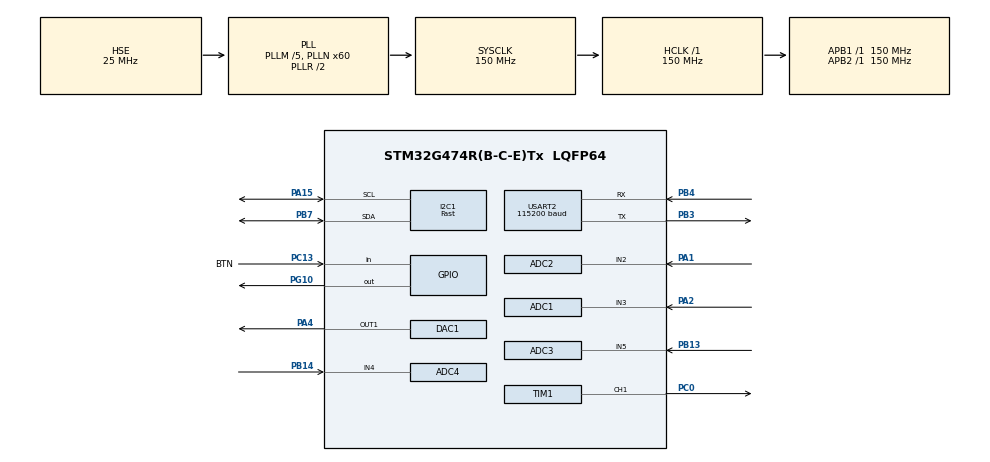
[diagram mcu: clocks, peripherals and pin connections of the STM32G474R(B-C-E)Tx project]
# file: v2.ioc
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ADC1.Channel-0\#ChannelRegularConversion=ADC_CHANNEL_3
ADC1.ClockPrescaler=ADC_CLOCK_ASYNC_DIV1
ADC1.ContinuousConvMode=DISABLE
ADC1.ExternalTrigConv=ADC_EXTERNALTRIG_T6_TRGO
ADC1.NbrOfConversion=1
ADC1.NbrOfConversionFlag=1
ADC1.OffsetNumber-0\#ChannelRegularConversion=ADC_OFFSET_NONE
ADC1.Rank-0\#ChannelRegularConversion=1
ADC1.SamplingTime-0\#ChannelRegularConversion=ADC_SAMPLETIME_2CYCLES_5
ADC1.master=1
ADC2.Channel-0\#ChannelRegularConversion=ADC_CHANNEL_2
ADC2.ClockPrescaler=ADC_CLOCK_ASYNC_DIV1
ADC2.NbrOfConversionFlag=1
ADC2.OffsetNumber-0\#ChannelRegularConversion=ADC_OFFSET_NONE
ADC2.Rank-0\#ChannelRegularConversion=1
ADC2.SamplingTime-0\#ChannelRegularConversion=ADC_SAMPLETIME_2CYCLES_5
ADC3.Channel-0\#ChannelRegularConversion=ADC_CHANNEL_5
ADC3.ClockPrescaler=ADC_CLOCK_ASYNC_DIV1
ADC3.NbrOfConversionFlag=1
ADC3.OffsetNumber-0\#ChannelRegularConversion=ADC_OFFSET_NONE
ADC3.Rank-0\#ChannelRegularConversion=1
ADC3.SamplingTime-0\#ChannelRegularConversion=ADC_SAMPLETIME_2CYCLES_5
ADC3.master=1
ADC4.Channel-1\#ChannelRegularConversion=ADC_CHANNEL_4
ADC4.ClockPrescaler=ADC_CLOCK_ASYNC_DIV1
ADC4.NbrOfConversionFlag=1
ADC4.OffsetNumber-1\#ChannelRegularConversion=ADC_OFFSET_NONE
ADC4.Rank-1\#ChannelRegularConversion=1
ADC4.SamplingTime-1\#ChannelRegularConversion=ADC_SAMPLETIME_2CYCLES_5
CRC.CRCLength=CRC_POLYLENGTH_16B
CRC.DefaultInitValueUse=DEFAULT_INIT_VALUE_DISABLE
CRC.DefaultPolynomialUse=DEFAULT_POLYNOMIAL_DISABLE
CRC.GeneratingPolynomial=X12+X5+X0
DAC1.DAC_Trigger_OUT1-DAC_OUT1=DAC_TRIGGER_T6_TRGO
Dma.ADC1.3.Direction=DMA_PERIPH_TO_MEMORY
Dma.ADC1.3.EventEnable=DISABLE
Dma.ADC1.3.Instance=DMA1_Channel4
Dma.ADC1.3.MemDataAlignment=DMA_MDATAALIGN_HALFWORD
Dma.ADC1.3.MemInc=DMA_MINC_ENABLE
Dma.ADC1.3.Mode=DMA_NORMAL
Dma.ADC1.3.PeriphDataAlignment=DMA_PDATAALIGN_HALFWORD
Dma.ADC1.3.PeriphInc=DMA_PINC_DISABLE
Dma.ADC1.3.Polarity=HAL_DMAMUX_REQ_GEN_RISING
Dma.ADC1.3.Priority=DMA_PRIORITY_LOW
Dma.ADC1.3.RequestNumber=1
Dma.ADC1.3.SignalID=NONE
Dma.ADC1.3.SyncEnable=DISABLE
Dma.ADC1.3.SyncPolarity=HAL_DMAMUX_SYNC_NO_EVENT
Dma.ADC1.3.SyncRequestNumber=1
Dma.ADC1.3.SyncSignalID=NONE
Dma.DAC1_CH1.1.Direction=DMA_MEMORY_TO_PERIPH
Dma.DAC1_CH1.1.EventEnable=DISABLE
Dma.DAC1_CH1.1.Instance=DMA1_Channel3
Dma.DAC1_CH1.1.MemDataAlignment=DMA_MDATAALIGN_HALFWORD
Dma.DAC1_CH1.1.MemInc=DMA_MINC_ENABLE
Dma.DAC1_CH1.1.Mode=DMA_CIRCULAR
Dma.DAC1_CH1.1.PeriphDataAlignment=DMA_PDATAALIGN_WORD
Dma.DAC1_CH1.1.PeriphInc=DMA_PINC_DISABLE
Dma.DAC1_CH1.1.Polarity=HAL_DMAMUX_REQ_GEN_RISING
Dma.DAC1_CH1.1.Priority=DMA_PRIORITY_LOW
Dma.DAC1_CH1.1.RequestNumber=1
Dma.DAC1_CH1.1.SignalID=NONE
Dma.DAC1_CH1.1.SyncEnable=DISABLE
Dma.DAC1_CH1.1.SyncPolarity=HAL_DMAMUX_SYNC_NO_EVENT
Dma.DAC1_CH1.1.SyncRequestNumber=1
Dma.DAC1_CH1.1.SyncSignalID=NONE
Dma.Request0=USART2_RX
Dma.Request1=DAC1_CH1
Dma.Request2=USART2_TX
Dma.Request3=ADC1
Dma.USART2_RX.0.Direction=DMA_PERIPH_TO_MEMORY
Dma.USART2_RX.0.EventEnable=DISABLE
Dma.USART2_RX.0.Instance=DMA1_Channel1
Dma.USART2_RX.0.MemDataAlignment=DMA_MDATAALIGN_BYTE
Dma.USART2_RX.0.MemInc=DMA_MINC_ENABLE
Dma.USART2_RX.0.Mode=DMA_NORMAL
Dma.USART2_RX.0.PeriphDataAlignment=DMA_PDATAALIGN_BYTE
Dma.USART2_RX.0.PeriphInc=DMA_PINC_DISABLE
Dma.USART2_RX.0.Polarity=HAL_DMAMUX_REQ_GEN_RISING
Dma.USART2_RX.0.Priority=DMA_PRIORITY_LOW
Dma.USART2_RX.0.RequestNumber=1
Dma.USART2_RX.0.SignalID=NONE
Dma.USART2_RX.0.SyncEnable=DISABLE
Dma.USART2_RX.0.SyncPolarity=HAL_DMAMUX_SYNC_NO_EVENT
Dma.USART2_RX.0.SyncRequestNumber=1
Dma.USART2_RX.0.SyncSignalID=NONE
Dma.USART2_TX.2.Direction=DMA_MEMORY_TO_PERIPH
Dma.USART2_TX.2.EventEnable=DISABLE
Dma.USART2_TX.2.Instance=DMA1_Channel2
Dma.USART2_TX.2.MemDataAlignment=DMA_MDATAALIGN_BYTE
Dma.USART2_TX.2.MemInc=DMA_MINC_ENABLE
Dma.USART2_TX.2.Mode=DMA_NORMAL
Dma.USART2_TX.2.PeriphDataAlignment=DMA_PDATAALIGN_BYTE
Dma.USART2_TX.2.PeriphInc=DMA_PINC_DISABLE
Dma.USART2_TX.2.Polarity=HAL_DMAMUX_REQ_GEN_RISING
Dma.USART2_TX.2.Priority=DMA_PRIORITY_LOW
Dma.USART2_TX.2.RequestNumber=1
Dma.USART2_TX.2.SignalID=NONE
Dma.USART2_TX.2.SyncEnable=DISABLE
Dma.USART2_TX.2.SyncPolarity=HAL_DMAMUX_SYNC_NO_EVENT
Dma.USART2_TX.2.SyncRequestNumber=1
Dma.USART2_TX.2.SyncSignalID=NONE
I2C1.I2C_Speed_Mode=I2C_Fast
I2C1.Timing=0x00E063FF
Mcu.Family=STM32G4
Mcu.Name=STM32G474R(B-C-E)Tx
Mcu.Package=LQFP64
NVIC.DMA1_Channel1_IRQn=true\:1\:0\:true\:false\:true\:true\:true\:true
NVIC.DMA1_Channel2_IRQn=true\:1\:0\:true\:false\:true\:true\:true\:true
NVIC.DMA1_Channel3_IRQn=true\:1\:0\:true\:false\:true\:false\:true\:true
NVIC.DMA1_Channel4_IRQn=true\:1\:0\:true\:false\:true\:false\:true\:true
NVIC.PriorityGroup=NVIC_PRIORITYGROUP_4
NVIC.TIM6_DAC_IRQn=true\:0\:0\:false\:false\:true\:true\:true\:true
NVIC.USART2_IRQn=true\:0\:0\:true\:false\:true\:true\:true\:true
PA1.Mode=IN2-Single-Ended
PA1.Signal=ADC2_IN2
PA15.Mode=I2C
PA15.Signal=I2C1_SCL
PA2.Mode=IN3-Single-Ended
PA2.Signal=ADC1_IN3
PA4.Signal=COMP_DAC11_group
PB13.Mode=IN5-Single-Ended
PB13.Signal=ADC3_IN5
PB14.Mode=IN4-Single-Ended
PB14.Signal=ADC4_IN4
PB3.Mode=Asynchronous
PB3.Signal=USART2_TX
PB4.Mode=Asynchronous
PB4.Signal=USART2_RX
PB7.Mode=I2C
PB7.Signal=I2C1_SDA
PC0.Signal=S_TIM1_CH1
PC13.GPIO_Label=BTN
PC13.GPIO_PuPd=GPIO_PULLUP
PC13.Signal=GPIO_Input
PF0-OSC_IN.Mode=HSE-External-Oscillator
PF0-OSC_IN.Signal=RCC_OSC_IN
PF1-OSC_OUT.Mode=HSE-External-Oscillator
PF1-OSC_OUT.Signal=RCC_OSC_OUT
PG10-NRST.Signal=GPIO_Output
ProjectManager.HeapSize=0x200
ProjectManager.StackSize=0x400
ProjectManager.TargetToolchain=STM32CubeIDE
RCC.ADC12CLockSelection=RCC_ADC12CLKSOURCE_PLL
RCC.ADC12Freq_Value=60000000
RCC.ADC345CLockSelection=RCC_ADC345CLKSOURCE_PLL
RCC.ADC345Freq_Value=60000000
RCC.AHBFreq_Value=150000000
RCC.APB1Freq_Value=150000000
RCC.APB1TimFreq_Value=150000000
RCC.APB2Freq_Value=150000000
RCC.APB2TimFreq_Value=150000000
RCC.CortexFreq_Value=150000000
RCC.EXTERNAL_CLOCK_VALUE=12288000
RCC.HCLKFreq_Value=150000000
RCC.HSE_VALUE=25000000
RCC.HSI48_VALUE=48000000
RCC.HSI_VALUE=16000000
RCC.LSE_VALUE=32768
RCC.PLLM=RCC_PLLM_DIV5
RCC.PLLN=60
RCC.PLLP=RCC_PLLP_DIV5
RCC.PLLSourceVirtual=RCC_PLLSOURCE_HSE
RCC.SYSCLKFreq_VALUE=150000000
RCC.SYSCLKSource=RCC_SYSCLKSOURCE_PLLCLK
RCC.USART2CLockSelection=RCC_USART2CLKSOURCE_HSI
RCC.USBFreq_Value=150000000
RCC.VCOOutputFreq_Value=300000000
SH.COMP_DAC11_group.0=DAC1_OUT1,DAC_OUT1
SH.S_TIM1_CH1.0=TIM1_CH1,PWM Generation1 CH1
TIM1.Channel-PWM\ Generation1\ CH1=TIM_CHANNEL_1
TIM1.PeriodNoDither=149
TIM1.PulseNoDither_1=75
TIM6.AutoReloadPreload=TIM_AUTORELOAD_PRELOAD_ENABLE
TIM6.PeriodNoDither=149
TIM6.TIM_MasterOutputTrigger=TIM_TRGO_UPDATE
USART2.BaudRate=115200
USART2.VirtualMode-Asynchronous=VM_ASYNC
VP_CRC_VS_CRC.Mode=CRC_Activate
VP_SYS_VS_DBSignals.Mode=DisableDeadBatterySignals
VP_TIM6_VS_ClockSourceINT.Mode=Enable_Timer
board=custom

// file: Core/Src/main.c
/* USER CODE BEGIN Header */
/**
 ******************************************************************************
 * @file           : main.c
 * @brief          : Main program body
 ******************************************************************************
 * @attention
 *
 * Copyright (c) 2024 STMicroelectronics.
 * All rights reserved.
 *
 * This software is licensed under terms that can be found in the LICENSE file
 * in the root directory of this software component.
 * If no LICENSE file comes with this software, it is provided AS-IS.
 *
 ******************************************************************************
 */
/* USER CODE END Header */
#include "main.h"

/* USER CODE BEGIN Includes */
#include "arm_math.h"
#include "arm_const_structs.h"
#include <string.h>
#include "uart_reg.h"
#include <stdio.h>
/* USER CODE END Includes */

/* USER CODE BEGIN PD */
#define samples 1024
#define FFT_LENGTH 1024
/* USER CODE END PD */

ADC_HandleTypeDef hadc1;
ADC_HandleTypeDef hadc2;
ADC_HandleTypeDef hadc3;
ADC_HandleTypeDef hadc4;
DMA_HandleTypeDef hdma_adc1;

CRC_HandleTypeDef hcrc;

DAC_HandleTypeDef hdac1;
DMA_HandleTypeDef hdma_dac1_ch1;

I2C_HandleTypeDef hi2c1;

TIM_HandleTypeDef htim1;
TIM_HandleTypeDef htim6;

UART_HandleTypeDef huart2;
DMA_HandleTypeDef hdma_usart2_rx;
DMA_HandleTypeDef hdma_usart2_tx;

void SystemClock_Config(void);
static void MX_GPIO_Init(void);
static void MX_DMA_Init(void);
static void MX_USART2_UART_Init(void);
static void MX_CRC_Init(void);
static void MX_ADC1_Init(void);
static void MX_I2C1_Init(void);
static void MX_DAC1_Init(void);
static void MX_TIM6_Init(void);
static void MX_ADC2_Init(void);
static void MX_ADC3_Init(void);
static void MX_ADC4_Init(void);
static void MX_TIM1_Init(void);

/* USER CODE BEGIN 0 */
uint16_t adc_buffer[samples];
uint8_t adc_buffer1[2 * samples];
uint16_t dac_buffer[100];
float32_t FFT_Input_Q15_f[50];
float32_t aFFT_Input_Q15[50];
int thd = 0;
volatile int adc_ongoing = 0; //volatile affects compiler compilation results. volatile indicates that variables may change at any time. Do not optimize operations related to volatile variables to avoid errors
void floatToString(float num, char *str, int precision);
void HAL_ADC_ConvCpltCallback(ADC_HandleTypeDef *hadc) {
	if (hadc == &hadc1) {
		adc_ongoing = 0;
		HAL_TIM_Base_Stop(&htim6);
		HAL_ADC_Stop_DMA(hadc);
	}
}
void i2c_handler(uint8_t *data, size_t size) {
	if (data[0] == 'W') {
		uint8_t addr = data[1];
		uint8_t len = size - 2;
		uint8_t ret = 0;
		if (HAL_I2C_Master_Transmit(&hi2c1, addr, data + 2, len, len + 1)
				!= HAL_OK)
			ret = -1;
		uart_transmit(&ret, 1);
	} else if (data[0] == 'R') {
		uint8_t addr = data[1];
		uint8_t len = data[2];
		uint8_t ret[len + 1];
		ret[0] = 0;
		if (HAL_I2C_Master_Receive(&hi2c1, addr, ret + 1, len, len + 1)
				!= HAL_OK)
			ret[0] = -1;
		uart_transmit(ret, len + 1);
	}
}
void dac_handler(uint8_t *data, size_t size) {
	HAL_DAC_Stop_DMA(&hdac1, DAC_CHANNEL_1);
	memcpy(dac_buffer, data, size);
	HAL_DAC_Start_DMA(&hdac1, DAC_CHANNEL_1, (uint32_t*) dac_buffer, size / 2,
	DAC_ALIGN_12B_R);
	HAL_TIM_Base_Start(&htim6);
}
void adc_handler(uint8_t *data, size_t size) {
//	const char lzz[6]="wsy\r\n";
//	uart_transmit(lzz, 6);
	uart_transmit(adc_buffer1, 2 * samples);
}

void split_uint16_to_uint8(const uint16_t *uint16_array,
		size_t uint16_array_size, uint8_t *uint8_array) {
	for (size_t i = 0; i < uint16_array_size; i++) {
		uint8_array[i * 2 + 1] = (uint8_t) (uint16_array[i] >> 8);
		uint8_array[i * 2] = (uint8_t) (uint16_array[i] & 0xFF);
	}
}
float calculateTHD(float fft_outputbuf[]) {
    float fundamental_amplitude = fft_outputbuf[1];
    float harmonics_amplitude_sum_squared = 0.0f;

    for (int i = 2; i < 6; i++) {
        harmonics_amplitude_sum_squared += fft_outputbuf[i] * fft_outputbuf[i];
    }

    float thd = sqrtf(harmonics_amplitude_sum_squared) / fundamental_amplitude * 100.0f;
    return thd;
}
/* USER CODE END 0 */

int main(void) {

	/* MCU Configuration--------------------------------------------------------*/

	/* Reset of all peripherals, Initializes the Flash interface and the Systick. */
	HAL_Init();

	/* Configure the system clock */
	SystemClock_Config();

	/* Initialize all configured peripherals */
	MX_GPIO_Init();
	MX_DMA_Init();
	MX_USART2_UART_Init();
	MX_CRC_Init();
	MX_ADC1_Init();
	MX_I2C1_Init();
	MX_DAC1_Init();
	MX_TIM6_Init();
	MX_ADC2_Init();
	MX_ADC3_Init();
	MX_ADC4_Init();
	MX_TIM1_Init();
	/* USER CODE BEGIN 2 */
	uart_init();
	uart_register_handler("I2C", i2c_handler);
	uart_register_handler("DAC", dac_handler);
	uart_register_handler("ADC", adc_handler);
	HAL_DAC_SetValue(&hdac1, DAC_CHANNEL_1, DAC_ALIGN_12B_R, 2048);
	HAL_DAC_Start(&hdac1, DAC_CHANNEL_1);
	HAL_TIM_PWM_Start(&htim1, TIM_CHANNEL_1);
	int i1 = 3;
	while (i1--) {
		HAL_TIM_Base_Start(&htim6);
		HAL_ADC_Start_DMA(&hadc1, (uint32_t*) adc_buffer, samples);
		split_uint16_to_uint8(adc_buffer, samples, adc_buffer1);
		adc_ongoing = 1;
		while (adc_ongoing)
			;
		HAL_Delay(1000);
	}
	float fft_inputbuf[FFT_LENGTH * 2];	//FFT输入数组
	float fft_outputbuf[FFT_LENGTH];	//FFT输出数组
	uint16_t fft_int[FFT_LENGTH];		//将输出变成整数
	for (int i = 0; i < FFT_LENGTH; i++)	//生成信号序列
			{
		fft_inputbuf[2 * i] = adc_buffer[i];
		//信号实部，直流分量100,1HZ信号幅值为10，50HZ信号幅值为20，300HZ信号幅值为30。
		fft_inputbuf[2 * i + 1] = 0;	//信号虚部，全部为0
	}
	arm_cfft_f32(&arm_cfft_sR_f32_len1024, fft_inputbuf, 0, 1);
	arm_cmplx_mag_f32(fft_inputbuf, fft_outputbuf, FFT_LENGTH);
	for (int i = 0; i < FFT_LENGTH; i++)	//生成信号序列
			{
		fft_int[i]=(uint16_t) fft_outputbuf[i];
	}
	split_uint16_to_uint8(fft_int, samples, adc_buffer1);
	float thd = calculateTHD(fft_outputbuf);
	/* USER CODE END 2 */

	/* Infinite loop */
	while (1) {

	}
}

void SystemClock_Config(void) {
	RCC_OscInitTypeDef RCC_OscInitStruct = { 0 };
	RCC_ClkInitTypeDef RCC_ClkInitStruct = { 0 };

	/** Configure the main internal regulator output voltage
	 */
	HAL_PWREx_ControlVoltageScaling(PWR_REGULATOR_VOLTAGE_SCALE1);

	/** Initializes the RCC Oscillators according to the specified parameters
	 * in the RCC_OscInitTypeDef structure.
	 */
	RCC_OscInitStruct.OscillatorType = RCC_OSCILLATORTYPE_HSI
			| RCC_OSCILLATORTYPE_HSE;
	RCC_OscInitStruct.HSEState = RCC_HSE_ON;
	RCC_OscInitStruct.HSIState = RCC_HSI_ON;
	RCC_OscInitStruct.HSICalibrationValue = RCC_HSICALIBRATION_DEFAULT;
	RCC_OscInitStruct.PLL.PLLState = RCC_PLL_ON;
	RCC_OscInitStruct.PLL.PLLSource = RCC_PLLSOURCE_HSE;
	RCC_OscInitStruct.PLL.PLLM = RCC_PLLM_DIV5;
	RCC_OscInitStruct.PLL.PLLN = 60;
	RCC_OscInitStruct.PLL.PLLP = RCC_PLLP_DIV5;
	RCC_OscInitStruct.PLL.PLLQ = RCC_PLLQ_DIV2;
	RCC_OscInitStruct.PLL.PLLR = RCC_PLLR_DIV2;
	if (HAL_RCC_OscConfig(&RCC_OscInitStruct) != HAL_OK) {
		Error_Handler();
	}

	/** Initializes the CPU, AHB and APB buses clocks
	 */
	RCC_ClkInitStruct.ClockType = RCC_CLOCKTYPE_HCLK | RCC_CLOCKTYPE_SYSCLK
			| RCC_CLOCKTYPE_PCLK1 | RCC_CLOCKTYPE_PCLK2;
	RCC_ClkInitStruct.SYSCLKSource = RCC_SYSCLKSOURCE_PLLCLK;
	RCC_ClkInitStruct.AHBCLKDivider = RCC_SYSCLK_DIV1;
	RCC_ClkInitStruct.APB1CLKDivider = RCC_HCLK_DIV1;
	RCC_ClkInitStruct.APB2CLKDivider = RCC_HCLK_DIV1;

	if (HAL_RCC_ClockConfig(&RCC_ClkInitStruct, FLASH_LATENCY_4) != HAL_OK) {
		Error_Handler();
	}
}

static void MX_ADC1_Init(void) {

	ADC_MultiModeTypeDef multimode = { 0 };
	ADC_ChannelConfTypeDef sConfig = { 0 };

	/** Common config
	 */
	hadc1.Instance = ADC1;
	hadc1.Init.ClockPrescaler = ADC_CLOCK_ASYNC_DIV1;
	hadc1.Init.Resolution = ADC_RESOLUTION_12B;
	hadc1.Init.DataAlign = ADC_DATAALIGN_RIGHT;
	hadc1.Init.GainCompensation = 0;
	hadc1.Init.ScanConvMode = ADC_SCAN_DISABLE;
	hadc1.Init.EOCSelection = ADC_EOC_SINGLE_CONV;
	hadc1.Init.LowPowerAutoWait = DISABLE;
	hadc1.Init.ContinuousConvMode = DISABLE;
	hadc1.Init.NbrOfConversion = 1;
	hadc1.Init.DiscontinuousConvMode = DISABLE;
	hadc1.Init.ExternalTrigConv = ADC_EXTERNALTRIG_T6_TRGO;
	hadc1.Init.ExternalTrigConvEdge = ADC_EXTERNALTRIGCONVEDGE_RISING;
	hadc1.Init.DMAContinuousRequests = DISABLE;
	hadc1.Init.Overrun = ADC_OVR_DATA_PRESERVED;
	hadc1.Init.OversamplingMode = DISABLE;
	if (HAL_ADC_Init(&hadc1) != HAL_OK) {
		Error_Handler();
	}

	/** Configure the ADC multi-mode
	 */
	multimode.Mode = ADC_MODE_INDEPENDENT;
	if (HAL_ADCEx_MultiModeConfigChannel(&hadc1, &multimode) != HAL_OK) {
		Error_Handler();
	}

	/** Configure Regular Channel
	 */
	sConfig.Channel = ADC_CHANNEL_3;
	sConfig.Rank = ADC_REGULAR_RANK_1;
	sConfig.SamplingTime = ADC_SAMPLETIME_2CYCLES_5;
	sConfig.SingleDiff = ADC_SINGLE_ENDED;
	sConfig.OffsetNumber = ADC_OFFSET_NONE;
	sConfig.Offset = 0;
	if (HAL_ADC_ConfigChannel(&hadc1, &sConfig) != HAL_OK) {
		Error_Handler();
	}

}

static void MX_ADC2_Init(void) {

	ADC_ChannelConfTypeDef sConfig = { 0 };

	/** Common config
	 */
	hadc2.Instance = ADC2;
	hadc2.Init.ClockPrescaler = ADC_CLOCK_ASYNC_DIV1;
	hadc2.Init.Resolution = ADC_RESOLUTION_12B;
	hadc2.Init.DataAlign = ADC_DATAALIGN_RIGHT;
	hadc2.Init.GainCompensation = 0;
	hadc2.Init.ScanConvMode = ADC_SCAN_DISABLE;
	hadc2.Init.EOCSelection = ADC_EOC_SINGLE_CONV;
	hadc2.Init.LowPowerAutoWait = DISABLE;
	hadc2.Init.ContinuousConvMode = DISABLE;
	hadc2.Init.NbrOfConversion = 1;
	hadc2.Init.DiscontinuousConvMode = DISABLE;
	hadc2.Init.ExternalTrigConv = ADC_SOFTWARE_START;
	hadc2.Init.ExternalTrigConvEdge = ADC_EXTERNALTRIGCONVEDGE_NONE;
	hadc2.Init.DMAContinuousRequests = DISABLE;
	hadc2.Init.Overrun = ADC_OVR_DATA_PRESERVED;
	hadc2.Init.OversamplingMode = DISABLE;
	if (HAL_ADC_Init(&hadc2) != HAL_OK) {
		Error_Handler();
	}

	/** Configure Regular Channel
	 */
	sConfig.Channel = ADC_CHANNEL_2;
	sConfig.Rank = ADC_REGULAR_RANK_1;
	sConfig.SamplingTime = ADC_SAMPLETIME_2CYCLES_5;
	sConfig.SingleDiff = ADC_SINGLE_ENDED;
	sConfig.OffsetNumber = ADC_OFFSET_NONE;
	sConfig.Offset = 0;
	if (HAL_ADC_ConfigChannel(&hadc2, &sConfig) != HAL_OK) {
		Error_Handler();
	}

}

static void MX_ADC3_Init(void) {

	ADC_MultiModeTypeDef multimode = { 0 };
	ADC_ChannelConfTypeDef sConfig = { 0 };

	/** Common config
	 */
	hadc3.Instance = ADC3;
	hadc3.Init.ClockPrescaler = ADC_CLOCK_ASYNC_DIV1;
	hadc3.Init.Resolution = ADC_RESOLUTION_12B;
	hadc3.Init.DataAlign = ADC_DATAALIGN_RIGHT;
	hadc3.Init.GainCompensation = 0;
	hadc3.Init.ScanConvMode = ADC_SCAN_DISABLE;
	hadc3.Init.EOCSelection = ADC_EOC_SINGLE_CONV;
	hadc3.Init.LowPowerAutoWait = DISABLE;
	hadc3.Init.ContinuousConvMode = DISABLE;
	hadc3.Init.NbrOfConversion = 1;
	hadc3.Init.DiscontinuousConvMode = DISABLE;
	hadc3.Init.ExternalTrigConv = ADC_SOFTWARE_START;
	hadc3.Init.ExternalTrigConvEdge = ADC_EXTERNALTRIGCONVEDGE_NONE;
	hadc3.Init.DMAContinuousRequests = DISABLE;
	hadc3.Init.Overrun = ADC_OVR_DATA_PRESERVED;
	hadc3.Init.OversamplingMode = DISABLE;
	if (HAL_ADC_Init(&hadc3) != HAL_OK) {
		Error_Handler();
	}

	/** Configure the ADC multi-mode
	 */
	multimode.Mode = ADC_MODE_INDEPENDENT;
	if (HAL_ADCEx_MultiModeConfigChannel(&hadc3, &multimode) != HAL_OK) {
		Error_Handler();
	}

	/** Configure Regular Channel
	 */
	sConfig.Channel = ADC_CHANNEL_5;
	sConfig.Rank = ADC_REGULAR_RANK_1;
	sConfig.SamplingTime = ADC_SAMPLETIME_2CYCLES_5;
	sConfig.SingleDiff = ADC_SINGLE_ENDED;
	sConfig.OffsetNumber = ADC_OFFSET_NONE;
	sConfig.Offset = 0;
	if (HAL_ADC_ConfigChannel(&hadc3, &sConfig) != HAL_OK) {
		Error_Handler();
	}

}

static void MX_ADC4_Init(void) {

	ADC_ChannelConfTypeDef sConfig = { 0 };

	/** Common config
	 */
	hadc4.Instance = ADC4;
	hadc4.Init.ClockPrescaler = ADC_CLOCK_ASYNC_DIV1;
	hadc4.Init.Resolution = ADC_RESOLUTION_12B;
	hadc4.Init.DataAlign = ADC_DATAALIGN_RIGHT;
	hadc4.Init.GainCompensation = 0;
	hadc4.Init.ScanConvMode = ADC_SCAN_DISABLE;
	hadc4.Init.EOCSelection = ADC_EOC_SINGLE_CONV;
	hadc4.Init.LowPowerAutoWait = DISABLE;
	hadc4.Init.ContinuousConvMode = DISABLE;
	hadc4.Init.NbrOfConversion = 1;
	hadc4.Init.DiscontinuousConvMode = DISABLE;
	hadc4.Init.ExternalTrigConv = ADC_SOFTWARE_START;
	hadc4.Init.ExternalTrigConvEdge = ADC_EXTERNALTRIGCONVEDGE_NONE;
	hadc4.Init.DMAContinuousRequests = DISABLE;
	hadc4.Init.Overrun = ADC_OVR_DATA_PRESERVED;
	hadc4.Init.OversamplingMode = DISABLE;
	if (HAL_ADC_Init(&hadc4) != HAL_OK) {
		Error_Handler();
	}

	/** Configure Regular Channel
	 */
	sConfig.Channel = ADC_CHANNEL_4;
	sConfig.Rank = ADC_REGULAR_RANK_1;
	sConfig.SamplingTime = ADC_SAMPLETIME_2CYCLES_5;
	sConfig.SingleDiff = ADC_SINGLE_ENDED;
	sConfig.OffsetNumber = ADC_OFFSET_NONE;
	sConfig.Offset = 0;
	if (HAL_ADC_ConfigChannel(&hadc4, &sConfig) != HAL_OK) {
		Error_Handler();
	}

}

static void MX_CRC_Init(void) {

	hcrc.Instance = CRC;
	hcrc.Init.DefaultPolynomialUse = DEFAULT_POLYNOMIAL_DISABLE;
	hcrc.Init.DefaultInitValueUse = DEFAULT_INIT_VALUE_DISABLE;
	hcrc.Init.GeneratingPolynomial = 4129;
	hcrc.Init.CRCLength = CRC_POLYLENGTH_16B;
	hcrc.Init.InitValue = 0;
	hcrc.Init.InputDataInversionMode = CRC_INPUTDATA_INVERSION_NONE;
	hcrc.Init.OutputDataInversionMode = CRC_OUTPUTDATA_INVERSION_DISABLE;
	hcrc.InputDataFormat = CRC_INPUTDATA_FORMAT_BYTES;
	if (HAL_CRC_Init(&hcrc) != HAL_OK) {
		Error_Handler();
	}

}

static void MX_DAC1_Init(void) {

	DAC_ChannelConfTypeDef sConfig = { 0 };

	/** DAC Initialization
	 */
	hdac1.Instance = DAC1;
	if (HAL_DAC_Init(&hdac1) != HAL_OK) {
		Error_Handler();
	}

	/** DAC channel OUT1 config
	 */
	sConfig.DAC_HighFrequency = DAC_HIGH_FREQUENCY_INTERFACE_MODE_AUTOMATIC;
	sConfig.DAC_DMADoubleDataMode = DISABLE;
	sConfig.DAC_SignedFormat = DISABLE;
	sConfig.DAC_SampleAndHold = DAC_SAMPLEANDHOLD_DISABLE;
	sConfig.DAC_Trigger = DAC_TRIGGER_T6_TRGO;
	sConfig.DAC_Trigger2 = DAC_TRIGGER_NONE;
	sConfig.DAC_OutputBuffer = DAC_OUTPUTBUFFER_ENABLE;
	sConfig.DAC_ConnectOnChipPeripheral = DAC_CHIPCONNECT_EXTERNAL;
	sConfig.DAC_UserTrimming = DAC_TRIMMING_FACTORY;
	if (HAL_DAC_ConfigChannel(&hdac1, &sConfig, DAC_CHANNEL_1) != HAL_OK) {
		Error_Handler();
	}

}

static void MX_I2C1_Init(void) {

	hi2c1.Instance = I2C1;
	hi2c1.Init.Timing = 0x00E063FF;
	hi2c1.Init.OwnAddress1 = 0;
	hi2c1.Init.AddressingMode = I2C_ADDRESSINGMODE_7BIT;
	hi2c1.Init.DualAddressMode = I2C_DUALADDRESS_DISABLE;
	hi2c1.Init.OwnAddress2 = 0;
	hi2c1.Init.OwnAddress2Masks = I2C_OA2_NOMASK;
	hi2c1.Init.GeneralCallMode = I2C_GENERALCALL_DISABLE;
	hi2c1.Init.NoStretchMode = I2C_NOSTRETCH_DISABLE;
	if (HAL_I2C_Init(&hi2c1) != HAL_OK) {
		Error_Handler();
	}

	/** Configure Analogue filter
	 */
	if (HAL_I2CEx_ConfigAnalogFilter(&hi2c1, I2C_ANALOGFILTER_ENABLE)
			!= HAL_OK) {
		Error_Handler();
	}

	/** Configure Digital filter
	 */
	if (HAL_I2CEx_ConfigDigitalFilter(&hi2c1, 0) != HAL_OK) {
		Error_Handler();
	}

}

static void MX_TIM1_Init(void) {

	TIM_MasterConfigTypeDef sMasterConfig = { 0 };
	TIM_OC_InitTypeDef sConfigOC = { 0 };
	TIM_BreakDeadTimeConfigTypeDef sBreakDeadTimeConfig = { 0 };

	htim1.Instance = TIM1;
	htim1.Init.Prescaler = 0;
	htim1.Init.CounterMode = TIM_COUNTERMODE_UP;
	htim1.Init.Period = 149;
	htim1.Init.ClockDivision = TIM_CLOCKDIVISION_DIV1;
	htim1.Init.RepetitionCounter = 0;
	htim1.Init.AutoReloadPreload = TIM_AUTORELOAD_PRELOAD_DISABLE;
	if (HAL_TIM_PWM_Init(&htim1) != HAL_OK) {
		Error_Handler();
	}
	sMasterConfig.MasterOutputTrigger = TIM_TRGO_RESET;
	sMasterConfig.MasterOutputTrigger2 = TIM_TRGO2_RESET;
	sMasterConfig.MasterSlaveMode = TIM_MASTERSLAVEMODE_DISABLE;
	if (HAL_TIMEx_MasterConfigSynchronization(&htim1, &sMasterConfig)
			!= HAL_OK) {
		Error_Handler();
	}
	sConfigOC.OCMode = TIM_OCMODE_PWM1;
	sConfigOC.Pulse = 75;
	sConfigOC.OCPolarity = TIM_OCPOLARITY_HIGH;
	sConfigOC.OCNPolarity = TIM_OCNPOLARITY_HIGH;
	sConfigOC.OCFastMode = TIM_OCFAST_DISABLE;
	sConfigOC.OCIdleState = TIM_OCIDLESTATE_RESET;
	sConfigOC.OCNIdleState = TIM_OCNIDLESTATE_RESET;
	if (HAL_TIM_PWM_ConfigChannel(&htim1, &sConfigOC, TIM_CHANNEL_1)
			!= HAL_OK) {
		Error_Handler();
	}
	sBreakDeadTimeConfig.OffStateRunMode = TIM_OSSR_DISABLE;
	sBreakDeadTimeConfig.OffStateIDLEMode = TIM_OSSI_DISABLE;
	sBreakDeadTimeConfig.LockLevel = TIM_LOCKLEVEL_OFF;
	sBreakDeadTimeConfig.DeadTime = 0;
	sBreakDeadTimeConfig.BreakState = TIM_BREAK_DISABLE;
	sBreakDeadTimeConfig.BreakPolarity = TIM_BREAKPOLARITY_HIGH;
	sBreakDeadTimeConfig.BreakFilter = 0;
	sBreakDeadTimeConfig.BreakAFMode = TIM_BREAK_AFMODE_INPUT;
	sBreakDeadTimeConfig.Break2State = TIM_BREAK2_DISABLE;
	sBreakDeadTimeConfig.Break2Polarity = TIM_BREAK2POLARITY_HIGH;
	sBreakDeadTimeConfig.Break2Filter = 0;
	sBreakDeadTimeConfig.Break2AFMode = TIM_BREAK_AFMODE_INPUT;
	sBreakDeadTimeConfig.AutomaticOutput = TIM_AUTOMATICOUTPUT_DISABLE;
	if (HAL_TIMEx_ConfigBreakDeadTime(&htim1, &sBreakDeadTimeConfig)
			!= HAL_OK) {
		Error_Handler();
	}
	HAL_TIM_MspPostInit(&htim1);

}

static void MX_TIM6_Init(void) {

	TIM_MasterConfigTypeDef sMasterConfig = { 0 };

	htim6.Instance = TIM6;
	htim6.Init.Prescaler = 0;
	htim6.Init.CounterMode = TIM_COUNTERMODE_UP;
	htim6.Init.Period = 149;
	htim6.Init.AutoReloadPreload = TIM_AUTORELOAD_PRELOAD_ENABLE;
	if (HAL_TIM_Base_Init(&htim6) != HAL_OK) {
		Error_Handler();
	}
	sMasterConfig.MasterOutputTrigger = TIM_TRGO_UPDATE;
	sMasterConfig.MasterSlaveMode = TIM_MASTERSLAVEMODE_DISABLE;
	if (HAL_TIMEx_MasterConfigSynchronization(&htim6, &sMasterConfig)
			!= HAL_OK) {
		Error_Handler();
	}

}

static void MX_USART2_UART_Init(void) {

	huart2.Instance = USART2;
	huart2.Init.BaudRate = 115200;
	huart2.Init.WordLength = UART_WORDLENGTH_8B;
	huart2.Init.StopBits = UART_STOPBITS_1;
	huart2.Init.Parity = UART_PARITY_NONE;
	huart2.Init.Mode = UART_MODE_TX_RX;
	huart2.Init.HwFlowCtl = UART_HWCONTROL_NONE;
	huart2.Init.OverSampling = UART_OVERSAMPLING_16;
	huart2.Init.OneBitSampling = UART_ONE_BIT_SAMPLE_DISABLE;
	huart2.Init.ClockPrescaler = UART_PRESCALER_DIV1;
	huart2.AdvancedInit.AdvFeatureInit = UART_ADVFEATURE_NO_INIT;
	if (HAL_UART_Init(&huart2) != HAL_OK) {
		Error_Handler();
	}
	if (HAL_UARTEx_SetTxFifoThreshold(&huart2, UART_TXFIFO_THRESHOLD_1_8)
			!= HAL_OK) {
		Error_Handler();
	}
	if (HAL_UARTEx_SetRxFifoThreshold(&huart2, UART_RXFIFO_THRESHOLD_1_8)
			!= HAL_OK) {
		Error_Handler();
	}
	if (HAL_UARTEx_DisableFifoMode(&huart2) != HAL_OK) {
		Error_Handler();
	}

}

static void MX_DMA_Init(void) {

	/* DMA controller clock enable */
	__HAL_RCC_DMAMUX1_CLK_ENABLE();
	__HAL_RCC_DMA1_CLK_ENABLE();

	/* DMA interrupt init */
	/* DMA1_Channel1_IRQn interrupt configuration */
	HAL_NVIC_SetPriority(DMA1_Channel1_IRQn, 1, 0);
	HAL_NVIC_EnableIRQ(DMA1_Channel1_IRQn);
	/* DMA1_Channel2_IRQn interrupt configuration */
	HAL_NVIC_SetPriority(DMA1_Channel2_IRQn, 1, 0);
	HAL_NVIC_EnableIRQ(DMA1_Channel2_IRQn);
	/* DMA1_Channel3_IRQn interrupt configuration */
	HAL_NVIC_SetPriority(DMA1_Channel3_IRQn, 1, 0);
	HAL_NVIC_EnableIRQ(DMA1_Channel3_IRQn);
	/* DMA1_Channel4_IRQn interrupt configuration */
	HAL_NVIC_SetPriority(DMA1_Channel4_IRQn, 1, 0);
	HAL_NVIC_EnableIRQ(DMA1_Channel4_IRQn);

}

static void MX_GPIO_Init(void) {
	GPIO_InitTypeDef GPIO_InitStruct = { 0 };

	/* GPIO Ports Clock Enable */
	__HAL_RCC_GPIOC_CLK_ENABLE();
	__HAL_RCC_GPIOF_CLK_ENABLE();
	__HAL_RCC_GPIOG_CLK_ENABLE();
	__HAL_RCC_GPIOA_CLK_ENABLE();
	__HAL_RCC_GPIOB_CLK_ENABLE();

	/*Configure GPIO pin Output Level */
	HAL_GPIO_WritePin(GPIOG, GPIO_PIN_10, GPIO_PIN_RESET);

	/*Configure GPIO pin : BTN_Pin */
	GPIO_InitStruct.Pin = BTN_Pin;
	GPIO_InitStruct.Mode = GPIO_MODE_INPUT;
	GPIO_InitStruct.Pull = GPIO_PULLUP;
	HAL_GPIO_Init(BTN_GPIO_Port, &GPIO_InitStruct);

	/*Configure GPIO pin : PG10 */
	GPIO_InitStruct.Pin = GPIO_PIN_10;
	GPIO_InitStruct.Mode = GPIO_MODE_OUTPUT_PP;
	GPIO_InitStruct.Pull = GPIO_NOPULL;
	GPIO_InitStruct.Speed = GPIO_SPEED_FREQ_LOW;
	HAL_GPIO_Init(GPIOG, &GPIO_InitStruct);

}

/* USER CODE BEGIN 4 */
void floatToString(float num, char *str, int precision) {
	// 提取整数部分
	int integerPart = (int) num;
	num -= integerPart;

	// 确定符号
	int isNegative = 0;
	if (integerPart < 0) {
		isNegative = 1;
		integerPart = -integerPart;
		num = -num;
	}

	// 提取小数部分
	for (int i = 0; i < precision; ++i) {
		num *= 10;
	}
	int decimalPart = (int) (num + 0.5); // 四舍五入

	// 将整数部分转换为字符串
	char buffer[20];
	int index = 0;
	do {
		buffer[index++] = (integerPart % 10) + '0';
		integerPart /= 10;
	} while (integerPart > 0);

	if (isNegative) {
		buffer[index++] = '-';
	}
	buffer[index] = '\0';

	// 反转整数部分字符串
	for (int i = 0; i < index / 2; ++i) {
		char temp = buffer[i];
		buffer[i] = buffer[index - i - 1];
		buffer[index - i - 1] = temp;
	}

	// 将整数部分复制到结果字符串
	int strIndex = 0;
	for (int i = 0; buffer[i] != '\0'; ++i) {
		str[strIndex++] = buffer[i];
	}

	// 添加小数点
	str[strIndex++] = '.';

	// 将小数部分转换为字符串
	index = 0;
	do {
		buffer[index++] = (decimalPart % 10) + '0';
		decimalPart /= 10;
	} while (decimalPart > 0);

	// 补齐小数部分不足的位数
	while (index < precision) {
		buffer[index++] = '0';
	}
	buffer[index] = '\0';

	// 反转小数部分字符串
	for (int i = 0; i < index / 2; ++i) {
		char temp = buffer[i];
		buffer[i] = buffer[index - i - 1];
		buffer[index - i - 1] = temp;
	}

	// 将小数部分复制到结果字符串
	for (int i = 0; buffer[i] != '\0'; ++i) {
		str[strIndex++] = buffer[i];
	}
	str[strIndex] = '\0';
}
/* USER CODE END 4 */

void Error_Handler(void) {
	__disable_irq();
	while (1) {
	}
}
